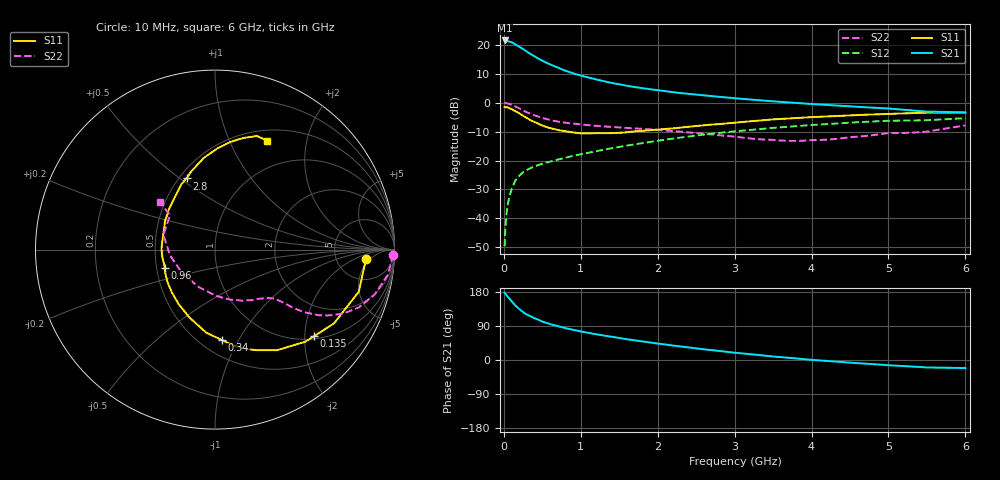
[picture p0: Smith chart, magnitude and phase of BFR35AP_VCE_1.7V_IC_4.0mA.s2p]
! Infineon Technologies  Discrete & RF Semiconductors
! BFR35AP
! VCE =  1.7 V,  IC =  4.0 mA
! Common Emitter S-Parameters:  Nov 2015
# GHz  S  MA  R  50
!  f  S11  S21  S12  S22
! GHz  MAG  ANG  MAG  ANG  MAG  ANG  MAG  ANG
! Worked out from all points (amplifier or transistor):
!   210 points, 10 MHz to 6 GHz, reference 50 ohm
!   highest |S21| = 21.5 dB at 10 MHz (marker M1)
!   |S21| within 3 dB of that: start of sweep to 250.8 MHz
!   unconditionally stable (mu >= 1): 839.5 MHz to 4.369 GHz; 5.154 GHz to end of sweep
!   at 185 MHz: K = 0.34, MSG = 22.7 dB, |S12| = -25.8 dB
!   at 1.52 GHz: K = 1.16, MAG = 8.3 dB, |S12| = -15.2 dB
!   at 6 GHz: K = 1.01, MAG = 0.5 dB, |S12| = -5.3 dB
!   S11 on the Smith chart (normalised r, x): 10 MHz: 11, -4; 135 MHz: 1.07, -2.22; 340 MHz: 0.63, -0.86; 960 MHz: 0.55, -0.12; 2.8 GHz: 0.55, +0.53; 6 GHz: 0.63, +1.39
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0.01  0.845 -3.4  11.95 177.5  0.0033 87.9  0.9919 -1.6
0.04  0.833 -13.1  11.7 169.6  0.0136 81.4  0.9767 -6.6
0.1  0.7802 -31.8  11.17 155.0  0.0317 73.6  0.9242 -15.7
0.135  0.7329 -41.2  10.47 147.2  0.041 68.3  0.8809 -20.0
0.15  0.7192 -45.5  10.23 143.6  0.045 66.7  0.8639 -21.9
0.2  0.6587 -58.3  9.356 134.5  0.0543 61.8  0.8001 -26.4
0.24  0.6068 -67.5  8.644 128.0  0.061 58.4  0.7483 -29.2
0.3  0.5428 -79.3  7.643 119.8  0.0689 55.6  0.6823 -32.4
0.34  0.5064 -85.4  7.088 116.3  0.0731 54.2  0.6509 -33.4
0.4  0.4646 -96.2  6.316 110.0  0.0795 52.3  0.6042 -35.2
0.5  0.4036 -110.8  5.301 101.4  0.0882 51.1  0.5439 -36.6
0.6  0.3651 -123.7  4.601 94.7  0.0958 51.0  0.5021 -37.4
0.8  0.3215 -145.3  3.582 84.1  0.1121 51.1  0.4503 -38.7
0.96  0.2988 -160.0  3.06 77.1  0.1251 51.7  0.4267 -39.9
1.02  0.2948 -165.5  2.907 74.7  0.1298 51.8  0.4187 -40.5
1.4  0.2979 167.3  2.202 61.3  0.1627 52.2  0.3818 -45.4
2.02  0.3451 136.8  1.627 42.9  0.2221 49.5  0.3364 -57.0
2.8  0.427 111.8  1.267 23.9  0.3005 42.9  0.2736 -79.8
3.1  0.4644 105.0  1.167 17.4  0.3292 39.2  0.2495 -92.5
4.1  0.5716 87.2  0.933 -1.0  0.4199 26.8  0.2263 -150.7
5.1  0.648 74.5  0.775 -14.9  0.4892 12.9  0.2986 159.6
6  0.6728 64.5  0.683 -21.2  0.5409 2.8  0.4039 139.3
